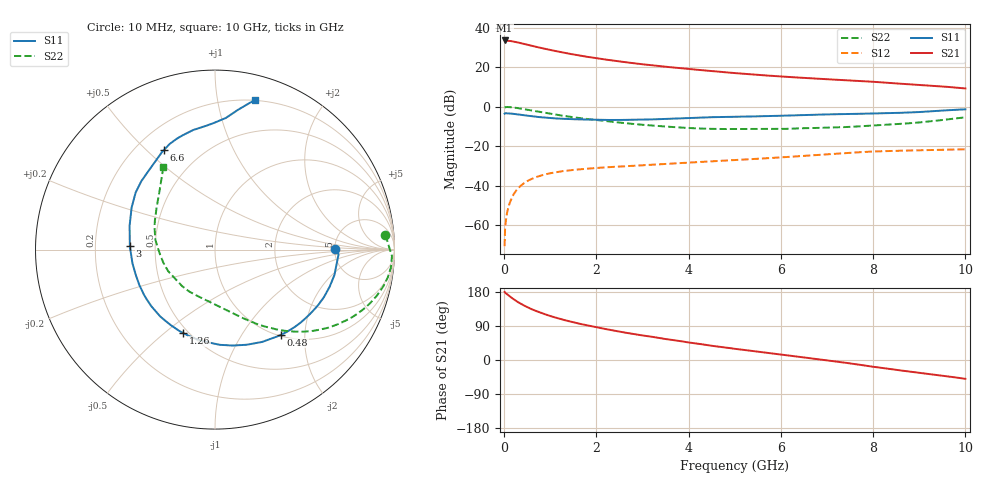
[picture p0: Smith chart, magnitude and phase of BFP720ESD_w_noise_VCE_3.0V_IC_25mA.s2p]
! Infineon Technologies  Discrete & RF Semiconductors
! BFP720ESD
! VCE =  3.0 V,  IC =  25 mA
! Common Emitter S-Parameters:  Jan 2016
# GHz  S  MA  R  50
!  f  S11  S21  S12  S22
! GHz  MAG  ANG  MAG  ANG  MAG  ANG  MAG  ANG
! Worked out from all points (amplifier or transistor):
!   233 points, 10 MHz to 10 GHz, reference 50 ohm
!   highest |S21| = 33.5 dB at 10 MHz (marker M1)
!   |S21| within 3 dB of that: start of sweep to 652.2 MHz
!   unconditionally stable (mu >= 1): start of sweep to 11.69 MHz; 4.122 GHz to 6.717 GHz
!   at 200 MHz: K = 0.16, MSG = 38.7 dB, |S12| = -44.4 dB
!   at 1.74 GHz: K = 0.63, MSG = 28.5 dB, |S12| = -31.4 dB
!   at 10 GHz: K = 0.66, MSG = 15.4 dB, |S12| = -21.5 dB
!   lowest NFmin = 1.07 dB at 450 MHz
!   S11 on the Smith chart (normalised r, x): 10 MHz: 5.07, +0.06; 480 MHz: 1.03, -1.52; 1.26 GHz: 0.47, -0.58; 3 GHz: 0.36, +0.02; 6.6 GHz: 0.31, +0.57; 10 GHz: 0.20, +1.28
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0.01  0.6707 0.3  47.38 179.8  0.0003 148.5  0.9532 4.9
0.02  0.6889 -2.2  46.88 177.5  0.0008 94.2  0.9724 0.3
0.1  0.6803 -12.0  46.58 170.2  0.0031 82.3  0.985 -5.9
0.15  0.6716 -17.8  45.72 165.3  0.0045 80.5  0.9744 -9.3
0.24  0.653 -28.0  43.54 157.4  0.007 76.4  0.9453 -14.7
0.36  0.6269 -40.4  40.5 148.4  0.01 70.7  0.8997 -20.9
0.48  0.6004 -52.1  37.43 140.8  0.0128 65.9  0.8518 -26.2
0.6  0.5777 -62.9  34.65 133.9  0.0151 61.6  0.8048 -30.9
0.84  0.5375 -82.5  29.92 122.7  0.0189 54.7  0.7188 -38.8
1  0.5186 -94.5  27.27 116.1  0.0209 50.9  0.6673 -43.3
1.26  0.497 -111.1  23.7 106.9  0.0235 46.3  0.5965 -49.3
1.42  0.4876 -120.3  21.82 101.8  0.0247 44.2  0.5594 -52.5
1.68  0.4773 -133.2  19.34 94.5  0.0265 41.4  0.5105 -57.1
2.2  0.4655 -155.0  15.59 81.6  0.0294 38.0  0.4354 -65.0
3  0.4748 177.7  11.86 64.8  0.0332 35.4  0.3504 -77.7
3.4  0.4881 167.0  10.56 57.4  0.0352 34.9  0.3226 -84.6
4.4  0.5389 145.9  8.175 39.4  0.0413 33.2  0.2782 -107.3
5.1  0.5623 135.8  6.948 28.1  0.0459 31.5  0.2735 -123.6
6.6  0.623 117.3  5.276 5.2  0.0584 26.7  0.2886 -157.6
6.8  0.6316 115.2  5.113 2.1  0.0605 25.7  0.292 -161.7
8.4  0.6919 94.0  3.963 -24.4  0.0765 11.6  0.3584 160.0
10  0.863 75.0  2.905 -49.7  0.0843 -1.5  0.5416 122.1
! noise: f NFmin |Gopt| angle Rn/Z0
0.45  1.07  0.02  -141  0.18
0.9  1.1  0.05  -148  0.12
1.9  1.13  0.08  -133  0.15
2.4  1.13  0.1  -124  0.13
5.5  1.29  0.28  -102  0.15
10  1.68  0.53  -84  0.53
